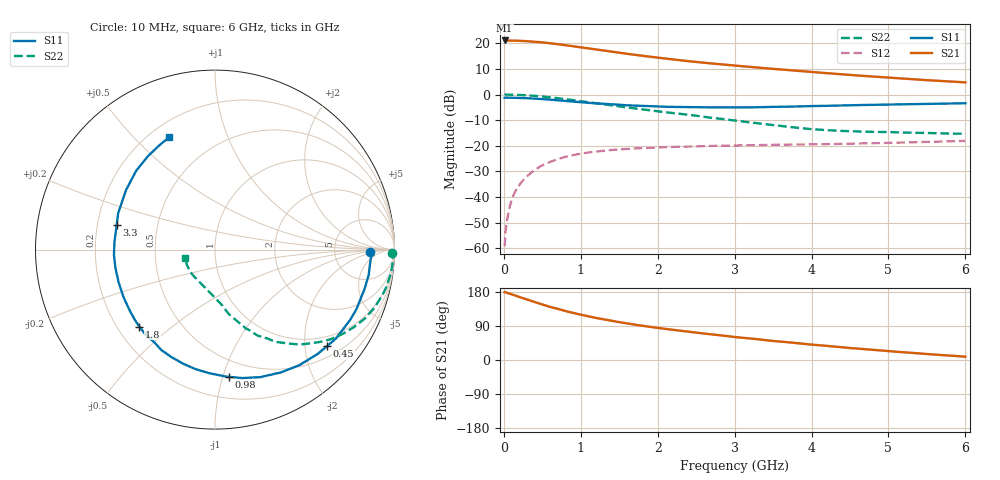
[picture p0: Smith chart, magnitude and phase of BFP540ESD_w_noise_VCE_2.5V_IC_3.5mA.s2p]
! Infineon Technologies  Discrete & RF Semiconductors
! BFP540ESD
! VCE =  2.5 V,  IC =  3.5 mA
! Common Emitter S-Parameters:  Nov 2015
# GHz  S  MA  R  50
!  f  S11  S21  S12  S22
! GHz  MAG  ANG  MAG  ANG  MAG  ANG  MAG  ANG
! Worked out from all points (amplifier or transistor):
!   210 points, 10 MHz to 6 GHz, reference 50 ohm
!   highest |S21| = 21.1 dB at 10 MHz (marker M1)
!   |S21| within 3 dB of that: start of sweep to 1.075 GHz
!   unconditionally stable (mu >= 1): 3.647 GHz to end of sweep
!   at 185 MHz: K = 0.03, MSG = 28.5 dB, |S12| = -36.0 dB
!   at 1.52 GHz: K = 0.38, MSG = 18.8 dB, |S12| = -21.4 dB
!   at 6 GHz: K = 1.29, MAG = 8.2 dB, |S12| = -18.1 dB
!   lowest NFmin = 0.64 dB at 900 MHz
!   S11 on the Smith chart (normalised r, x): 10 MHz: 14, -1; 450 MHz: 0.75, -2.49; 980 MHz: 0.36, -1.05; 1.8 GHz: 0.29, -0.39; 3.3 GHz: 0.28, +0.11; 6 GHz: 0.28, +0.64
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0.01  0.8649 -0.8  11.37 179.1  0.0011 73.1  0.9852 -1.2
0.02  0.8717 -2.2  11.34 178.8  0.002 87.0  1 -1.0
0.04  0.8686 -3.7  11.31 177.3  0.0034 90.9  0.9957 -2.1
0.12  0.8654 -11.1  11.29 172.0  0.0104 84.4  0.99 -6.1
0.28  0.8507 -25.7  11.04 161.1  0.0237 78.1  0.9701 -14.2
0.45  0.8235 -40.8  10.57 149.8  0.0376 70.6  0.9307 -22.5
0.6  0.7968 -54.0  10.03 140.2  0.0484 65.0  0.8853 -29.3
0.7  0.7763 -61.9  9.642 135.0  0.0548 60.4  0.8514 -33.6
0.8  0.7539 -70.5  9.215 129.2  0.0609 56.6  0.815 -37.8
0.98  0.7131 -83.7  8.432 120.5  0.0695 50.2  0.7503 -44.0
1.02  0.7046 -86.7  8.267 118.7  0.0712 49.1  0.7361 -45.4
1.2  0.6745 -99.3  7.548 110.9  0.077 43.8  0.6758 -51.0
1.4  0.6465 -111.9  6.865 103.5  0.0832 39.1  0.6145 -56.8
1.5  0.6342 -118.2  6.541 99.8  0.0848 36.8  0.5864 -58.6
1.8  0.6012 -134.5  5.7 90.2  0.0901 31.3  0.5134 -65.1
2.02  0.5825 -145.1  5.219 84.0  0.0934 28.5  0.4682 -68.9
2.5  0.564 -165.7  4.325 72.2  0.0976 23.3  0.3854 -75.8
3.1  0.5609 172.3  3.568 58.8  0.1018 19.4  0.2982 -84.8
3.3  0.5649 165.8  3.361 54.8  0.1033 18.1  0.2749 -88.7
4.1  0.5993 144.0  2.687 39.0  0.1072 14.3  0.2063 -111.3
5.1  0.643 124.3  2.093 21.8  0.1149 11.7  0.1834 -141.0
6  0.6767 112.1  1.73 8.7  0.1247 10.2  0.1717 -164.3
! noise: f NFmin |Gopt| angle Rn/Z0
0.9  0.64  0.22  44  0.14
1.8  0.9  0.18  97  0.12
2.4  0.92  0.21  112  0.1
3  1.1  0.26  147  0.09
4  1.35  0.28  -137  0.14
5  1.65  0.41  -105  0.31
6  1.85  0.54  -104  0.47
